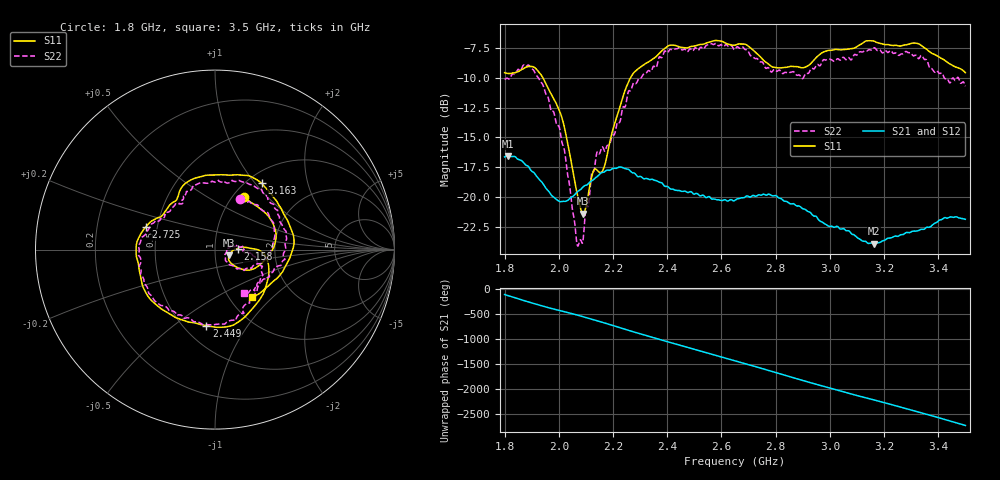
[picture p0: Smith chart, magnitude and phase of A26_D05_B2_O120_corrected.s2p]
! Created with skrf 1.9.0 (http://scikit-rf.org).
# Hz S RI R 50.0
!freq ReS11 ImS11 ReS21 ImS21 ReS12 ImS12 ReS22 ImS22
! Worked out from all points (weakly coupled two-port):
!   1601 points, 1.8 GHz to 3.5 GHz, reference 50 ohm
!   highest |S21| = -16.55 dB at 1.812 GHz (marker M1); lowest = -23.9 dB at 3.163 GHz (marker M2)
!   lowest |S11| = -21.4 dB at 2.09 GHz (marker M3), VSWR 1.19, Z = 58.4 - j3.75 ohm
!   |S11| at or under -10 dB: 1.942 GHz to 2.264 GHz (322.1 MHz wide, 15.3 % of centre)
!   |S22| runs from -24.1 to -7.1 dB; largest |S21 - S12| = 0.0028
!   S11 on the Smith chart (normalised r, x): 1.8 GHz: 1.13, +0.74; 2.158 GHz: 1.29, +0.01; 2.449 GHz: 0.64, -0.66; 2.725 GHz: 0.43, +0.13; 3.163 GHz: 1.16, +1.08; 3.5 GHz: 1.27, -0.75
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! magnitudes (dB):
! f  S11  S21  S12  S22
! 1.8 GHz  -9.5  -16.6  -16.6  -10.1
! 1.812 GHz  -9.6  -16.6  -16.6  -10.0
! 1.887 GHz  -9.0  -17.4  -17.5  -8.9
! 1.941 GHz  -10.0  -18.9  -18.9  -10.6
! 2.013 GHz  -13.4  -20.4  -20.4  -15.5
! 2.066 GHz  -19.5  -19.6  -19.6  -23.8
! 2.084 GHz  -21.2  -19.3  -19.3  -23.8
! 2.09 GHz  -21.4  -19.2  -19.2  -23.5
! 2.125 GHz  -18.0  -18.6  -18.6  -17.9
! 2.158 GHz  -17.9  -18.0  -17.9  -15.8
! 2.191 GHz  -15.1  -17.7  -17.7  -15.4
! 2.26 GHz  -10.2  -17.7  -17.7  -11.1
! 2.367 GHz  -8.0  -18.7  -18.7  -8.4
! 2.449 GHz  -7.4  -19.5  -19.5  -7.5
! 2.65 GHz  -7.2  -20.3  -20.3  -7.6
! 2.725 GHz  -7.8  -19.9  -19.9  -8.4
! 2.798 GHz  -9.1  -19.9  -19.9  -9.3
! 2.934 GHz  -8.7  -21.5  -21.4  -9.2
! 3.163 GHz  -6.9  -23.9  -23.9  -7.5
! 3.217 GHz  -7.2  -23.5  -23.5  -7.8
! 3.325 GHz  -7.1  -22.8  -22.8  -8.3
! 3.5 GHz  -9.6  -21.9  -21.9  -10.7
